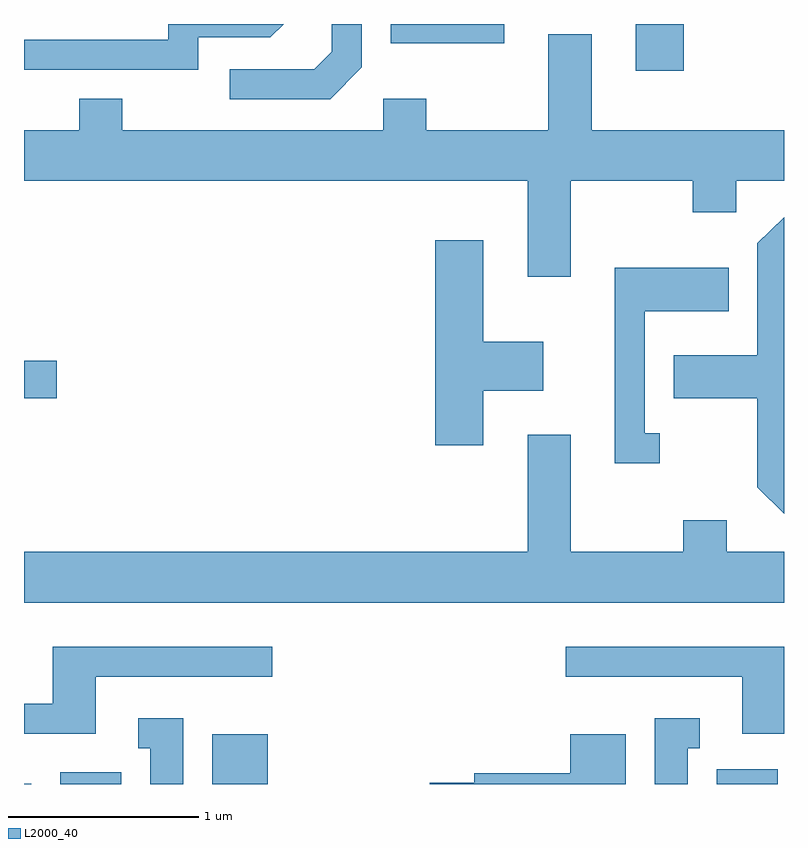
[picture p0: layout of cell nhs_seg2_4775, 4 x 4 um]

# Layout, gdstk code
import gdstk
lib = gdstk.Library(unit=1e-6, precision=1e-09)
def R(c, l, rs):  # rectangles x0, y0, x1, y1
    for r in rs: c.add(gdstk.rectangle(r[:2], r[2:], *l))
def P(c, l, *ps):  # polygons
    for p in ps: c.add(gdstk.Polygon(p, *l))
L2000_40 = (2000, 40)

nhs_seg2_4775 = lib.new_cell('nhs_seg2_4775')
R(nhs_seg2_4775, L2000_40, [(325.611,1051.802,325.649,1051.804), (325.801,1051.802,326.124,1051.864), (326.601,1051.802,326.894,1052.064), (329.256,1051.802,329.579,1051.879), (325.611,1053.831,325.784,1054.029), (328.831,1055.556,329.084,1055.802), (327.541,1055.701,328.139,1055.802)])
P(nhs_seg2_4775, L2000_40, [(326.529,1055.731),(326.907,1055.731),(326.978,1055.802),(326.371,1055.802),(326.371,1055.719),(325.611,1055.719),(325.611,1055.561),(326.529,1055.561)],
  [(327.389,1055.574),(327.389,1055.802),(327.231,1055.802),(327.231,1055.657),(327.139,1055.564),(326.693,1055.564),(326.693,1055.406),(327.222,1055.406)],
  [(328.489,1054.976),(329.131,1054.976),(329.131,1054.811),(329.359,1054.811),(329.359,1054.976),(329.611,1054.976),(329.611,1055.244),(328.599,1055.244),(328.599,1055.749),(328.371,1055.749),(328.371,1055.244),(327.729,1055.244),(327.729,1055.409),(327.501,1055.409),(327.501,1055.244),(326.129,1055.244),(326.129,1055.409),(325.901,1055.409),(325.901,1055.244),(325.611,1055.244),(325.611,1054.976),(328.261,1054.976),(328.261,1054.471),(328.489,1054.471)],
  [(329.611,1054.786),(329.471,1054.647),(329.471,1054.059),(329.031,1054.059),(329.031,1053.831),(329.471,1053.831),(329.471,1053.364),(329.611,1053.224)],
  [(328.029,1053.871),(328.344,1053.871),(328.344,1054.129),(328.029,1054.129),(328.029,1054.664),(327.776,1054.664),(327.776,1053.586),(328.029,1053.586)],
  [(328.958,1053.649),(328.879,1053.649),(328.879,1054.291),(329.319,1054.291),(329.319,1054.519),(328.721,1054.519),(328.721,1053.491),(328.958,1053.491)],
  [(329.611,1053.024),(329.309,1053.024),(329.309,1053.189),(329.081,1053.189),(329.081,1053.024),(328.489,1053.024),(328.489,1053.639),(328.261,1053.639),(328.261,1053.024),(325.611,1053.024),(325.611,1052.756),(329.611,1052.756)],
  [(329.611,1052.524),(328.463,1052.524),(328.463,1052.366),(329.391,1052.366),(329.391,1052.066),(329.611,1052.066)],
  [(325.989,1052.366),(326.918,1052.366),(326.918,1052.524),(325.761,1052.524),(325.761,1052.224),(325.611,1052.224),(325.611,1052.066),(325.989,1052.066)],
  [(326.449,1052.149),(326.213,1052.149),(326.213,1051.991),(326.276,1051.991),(326.276,1051.802),(326.449,1051.802)],
  [(329.104,1051.991),(329.168,1051.991),(329.168,1052.149),(328.931,1052.149),(328.931,1051.802),(329.104,1051.802)],
  [(328.779,1052.064),(328.486,1052.064),(328.486,1051.859),(327.981,1051.859),(327.981,1051.809),(327.746,1051.809),(327.746,1051.802),(328.779,1051.802)])

lib.write_gds('nhs_seg2_4775.gds')
